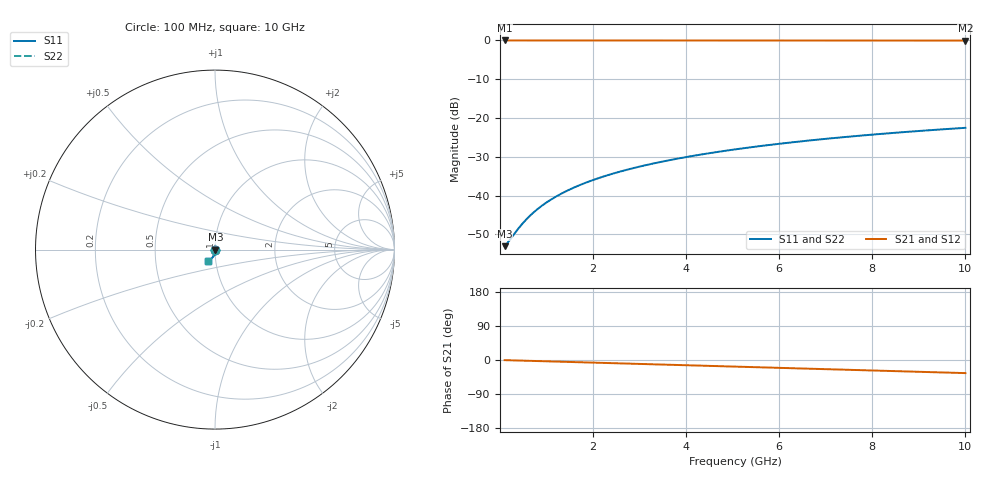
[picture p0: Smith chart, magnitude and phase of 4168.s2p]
# Hz S RI R 50.00
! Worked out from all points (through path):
!   100 points, 100 MHz to 10 GHz, reference 50 ohm
!   highest |S21| = -0.02 dB at 100 MHz (marker M1); lowest = 0.0 dB at 10 GHz (marker M2)
!   group delay of S21, straight-line fit = 9.61 ps
!   lowest |S11| = -53.1 dB at 100 MHz (marker M3), VSWR 1.00, Z = 50.2 - j0.0801 ohm
!   |S11| at or under -10 dB: start of sweep to end of sweep
!   |S22| runs from -53.1 to -22.5 dB; largest |S21 - S12| = 0
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1e8  0.00207 -0.000798  0.9979 -0.006  0.9979 -0.006  0.00207 -0.000798
2e8  0.00207 -0.0016  0.9978 -0.012  0.9978 -0.012  0.00207 -0.0016
4e8  0.00203 -0.00319  0.9976 -0.024  0.9976 -0.024  0.00203 -0.00319
5e8  0.00199 -0.00399  0.9974 -0.03  0.9974 -0.03  0.00199 -0.00399
6e8  0.00194 -0.00478  0.9972 -0.036  0.9972 -0.036  0.00194 -0.00478
7e8  0.00188 -0.00558  0.9969 -0.042  0.9969 -0.042  0.00188 -0.00558
8e8  0.00181 -0.00638  0.9967 -0.048  0.9967 -0.048  0.00181 -0.00638
1e9  0.00164 -0.00796  0.996 -0.06  0.996 -0.06  0.00164 -0.00796
1.2e9  0.00143 -0.00955  0.9952 -0.072  0.9952 -0.072  0.00143 -0.00955
1.5e9  0.00105 -0.0119  0.9936 -0.0899  0.9936 -0.0899  0.00105 -0.0119
1.8e9  0.00058 -0.0143  0.9918 -0.1079  0.9918 -0.1079  0.00058 -0.0143
2.1e9  2.55e-05 -0.0166  0.9896 -0.1258  0.9896 -0.1258  2.55e-05 -0.0166
2.5e9  -0.000845 -0.0197  0.9862 -0.1495  0.9862 -0.1495  -0.000845 -0.0197
2.9e9  -0.00186 -0.0227  0.9823 -0.1733  0.9823 -0.1733  -0.00186 -0.0227
3.4e9  -0.00334 -0.0265  0.9765 -0.2027  0.9765 -0.2027  -0.00334 -0.0265
4.2e9  -0.00617 -0.0322  0.9653 -0.2495  0.9653 -0.2495  -0.00617 -0.0322
5.1e9  -0.00999 -0.0384  0.9501 -0.3015  0.9501 -0.3015  -0.00999 -0.0384
5.9e9  -0.0139 -0.0435  0.9341 -0.3469  0.9341 -0.3469  -0.0139 -0.0435
6.7e9  -0.0184 -0.0482  0.9159 -0.3915  0.9159 -0.3915  -0.0184 -0.0482
7.5e9  -0.0232 -0.0525  0.8956 -0.4352  0.8956 -0.4352  -0.0232 -0.0525
8.4e9  -0.0291 -0.0567  0.8702 -0.4831  0.8702 -0.4831  -0.0291 -0.0567
1e10  -0.0407 -0.0625  0.8187 -0.5645  0.8187 -0.5645  -0.0407 -0.0625
